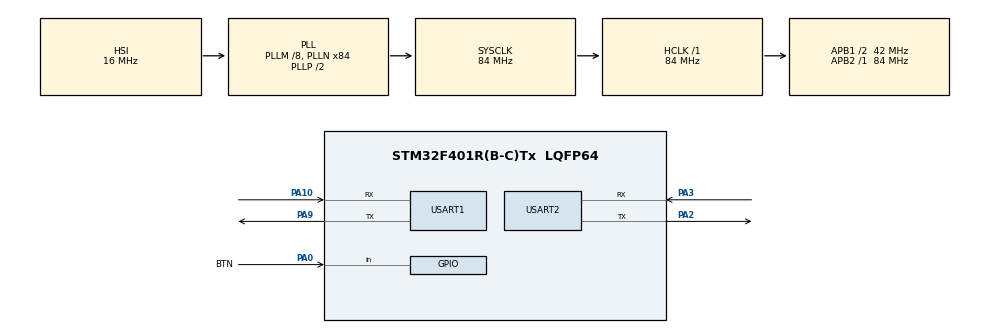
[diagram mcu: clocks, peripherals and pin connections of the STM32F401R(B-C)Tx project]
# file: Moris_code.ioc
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Mcu.Family=STM32F4
Mcu.Name=STM32F401R(B-C)Tx
Mcu.Package=LQFP64
NVIC.FPU_IRQn=true\:0\:0\:false\:false\:true\:true\:false\:true
NVIC.PriorityGroup=NVIC_PRIORITYGROUP_4
NVIC.TIM1_TRG_COM_TIM11_IRQn=true\:0\:0\:false\:false\:true\:true\:true\:true
NVIC.USART1_IRQn=true\:0\:0\:false\:false\:true\:true\:true\:true
PA0-WKUP.GPIO_Label=BTN
PA0-WKUP.GPIO_PuPd=GPIO_PULLUP
PA0-WKUP.Signal=GPIO_Input
PA10.Mode=Asynchronous
PA10.Signal=USART1_RX
PA13.Mode=Serial_Wire
PA13.Signal=SYS_JTMS-SWDIO
PA14.Mode=Serial_Wire
PA14.Signal=SYS_JTCK-SWCLK
PA2.Mode=Asynchronous
PA2.Signal=USART2_TX
PA3.Mode=Asynchronous
PA3.Signal=USART2_RX
PA9.Mode=Asynchronous
PA9.Signal=USART1_TX
ProjectManager.HeapSize=0x800
ProjectManager.StackSize=0x800
ProjectManager.TargetToolchain=STM32CubeIDE
RCC.48MHZClocksFreq_Value=24000000
RCC.AHBFreq_Value=84000000
RCC.APB1CLKDivider=RCC_HCLK_DIV2
RCC.APB1Freq_Value=42000000
RCC.APB1TimFreq_Value=84000000
RCC.APB2Freq_Value=84000000
RCC.APB2TimFreq_Value=84000000
RCC.CortexFreq_Value=84000000
RCC.HCLKFreq_Value=84000000
RCC.HSE_VALUE=25000000
RCC.HSI_VALUE=16000000
RCC.LSE_VALUE=32768
RCC.PLLM=8
RCC.PLLN=84
RCC.PLLQ=7
RCC.SYSCLKFreq_VALUE=84000000
RCC.SYSCLKSource=RCC_SYSCLKSOURCE_PLLCLK
RCC.VCOOutputFreq_Value=168000000
STMicroelectronics.X-CUBE-AI.10.2.0.ActivationBufferSizeList=11776
STMicroelectronics.X-CUBE-AI.10.2.0.ActivationBuffers=pool0
STMicroelectronics.X-CUBE-AI.10.2.0.ActivationNames=pool0
STMicroelectronics.X-CUBE-AI.10.2.0.ActivationSizes=AI_NETWORK_DATA_ACTIVATION_1_SIZE
STMicroelectronics.X-CUBE-AI.10.2.0.HeapSize=0x800
STMicroelectronics.X-CUBE-AI.10.2.0.InternalRamActivationBufferMaxSize=AI_NETWORK_DATA_ACTIVATIONS_SIZE
STMicroelectronics.X-CUBE-AI.10.2.0.LatestDirectoryUsed-5d06fa211cce28734c915280069cd147d6e41d4e71027c1cc666ec31331a1140=D\:\\EmbedML\\TinyML_projects\\Moris_code\\Model-Docs
STMicroelectronics.X-CUBE-AI.10.2.0.MaximumNumberOfInputLayer=1
STMicroelectronics.X-CUBE-AI.10.2.0.MaximumNumberOfOutputLayer=1
STMicroelectronics.X-CUBE-AI.10.2.0.MaximumSizeOfInputLayer=1
STMicroelectronics.X-CUBE-AI.10.2.0.MaximumSizeOfOutputLayer=1
STMicroelectronics.X-CUBE-AI.10.2.0.ModelActualCompression-5d06fa211cce28734c915280069cd147d6e41d4e71027c1cc666ec31331a1140=0.0
STMicroelectronics.X-CUBE-AI.10.2.0.ModelCompression-5d06fa211cce28734c915280069cd147d6e41d4e71027c1cc666ec31331a1140=None
STMicroelectronics.X-CUBE-AI.10.2.0.ModelFlashOccupation-5d06fa211cce28734c915280069cd147d6e41d4e71027c1cc666ec31331a1140=36947
STMicroelectronics.X-CUBE-AI.10.2.0.ModelHashList=5d06fa211cce28734c915280069cd147d6e41d4e71027c1cc666ec31331a1140
STMicroelectronics.X-CUBE-AI.10.2.0.ModelKind-5d06fa211cce28734c915280069cd147d6e41d4e71027c1cc666ec31331a1140=KERAS
STMicroelectronics.X-CUBE-AI.10.2.0.ModelMacc-5d06fa211cce28734c915280069cd147d6e41d4e71027c1cc666ec31331a1140=142448
STMicroelectronics.X-CUBE-AI.10.2.0.ModelName-5d06fa211cce28734c915280069cd147d6e41d4e71027c1cc666ec31331a1140=network
STMicroelectronics.X-CUBE-AI.10.2.0.ModelNameList=network
STMicroelectronics.X-CUBE-AI.10.2.0.ModelRamOccupation-5d06fa211cce28734c915280069cd147d6e41d4e71027c1cc666ec31331a1140=11776
STMicroelectronics.X-CUBE-AI.10.2.0.ModelStructureFile-5d06fa211cce28734c915280069cd147d6e41d4e71027c1cc666ec31331a1140=Model-Docs/morse_model.tflite
STMicroelectronics.X-CUBE-AI.10.2.0.ModelType-5d06fa211cce28734c915280069cd147d6e41d4e71027c1cc666ec31331a1140=STM32Cube.AI MCU runtime
STMicroelectronics.X-CUBE-AI.10.2.0.ReadyForCodeGeneration=true
STMicroelectronics.X-CUBE-AI.10.2.0.StackSize=0x800
STMicroelectronics.X-CUBE-AI.10.2.0.WorkingBufferStartAddrList=0xFFFFFFFF
STMicroelectronics.X-CUBE-AI.10.2.0.XAaCUBEAaAICcArtificialOoIntelligenceJjCore=true
STMicroelectronics.X-CUBE-AI.10.2.0.copyWeightToRam=false
STMicroelectronics.X-CUBE-AI.10.2.0.copyWeightToRam-5d06fa211cce28734c915280069cd147d6e41d4e71027c1cc666ec31331a1140=false
STMicroelectronics.X-CUBE-AI.10.2.0.customLayerConfigEnabled=false
STMicroelectronics.X-CUBE-AI.10.2.0.customLayerConfigEnabled-5d06fa211cce28734c915280069cd147d6e41d4e71027c1cc666ec31331a1140=false
STMicroelectronics.X-CUBE-AI.10.2.0.noOnnxIoTranspose=false
STMicroelectronics.X-CUBE-AI.10.2.0.noOnnxIoTranspose-5d06fa211cce28734c915280069cd147d6e41d4e71027c1cc666ec31331a1140=false
STMicroelectronics.X-CUBE-AI.10.2.0.useInputAllocation=true
STMicroelectronics.X-CUBE-AI.10.2.0.useInputAllocation-5d06fa211cce28734c915280069cd147d6e41d4e71027c1cc666ec31331a1140=true
STMicroelectronics.X-CUBE-AI.10.2.0.useOutputAllocation=true
STMicroelectronics.X-CUBE-AI.10.2.0.useOutputAllocation-5d06fa211cce28734c915280069cd147d6e41d4e71027c1cc666ec31331a1140=true
TIM11.AutoReloadPreload=TIM_AUTORELOAD_PRELOAD_ENABLE
TIM11.Channel=TIM_CHANNEL_1
TIM11.OC1Preload=ENABLE
TIM11.Period=49999
TIM11.Prescaler=83
USART1.VirtualMode=VM_ASYNC
USART2.VirtualMode=VM_ASYNC
VP_CRC_VS_CRC.Mode=CRC_Activate
VP_STMicroelectronics.X-CUBE-AI_VS_ArtificialOoIntelligenceJjXAaCUBEAaAI_10.2.0.Mode=ArtificialOoIntelligenceJjXAaCUBEAaAI
VP_TIM11_VS_ClockSourceINT.Mode=Enable_Timer
VP_TIM11_VS_no_output1.Mode=Output Compare1 No Output
board=custom

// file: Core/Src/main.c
/* USER CODE BEGIN Header */
/**
  ******************************************************************************
  * @file           : main.c
  * @brief          : Main program body
  ******************************************************************************
  * @attention
  *
  * Copyright (c) 2026 STMicroelectronics.
  * All rights reserved.
  *
  * This software is licensed under terms that can be found in the LICENSE file
  * in the root directory of this software component.
  * If no LICENSE file comes with this software, it is provided AS-IS.
  *
  ******************************************************************************
  */
/* USER CODE END Header */
#include "main.h"
#include "crc.h"
#include "tim.h"
#include "usart.h"
#include "gpio.h"

/* USER CODE BEGIN Includes */
#include "network.h"
#include "network_data.h"
#include <stdio.h>
#include <string.h>
/* USER CODE END Includes */

/* USER CODE BEGIN PM */
#define BUFFER_SIZE 100
#define True 1
#define False 0
#define BUTTON_PRESSED 127
#define BUTTON_RELEASED -128   /* matches the released level used during training */
#define BUTTON_NO_CHANGE 0
#define CONFIDENCE_THRESHOLD 100  /* min INT8 score to accept a prediction (tune to model output scale) */
/* USER CODE END PM */

/* USER CODE BEGIN PV */
/* App Logic variables */
int8_t  input_buffer[AI_NETWORK_IN_1_SIZE];               /* model input  (S8, 100 samples) */
int8_t  output_buffer[AI_NETWORK_OUT_1_SIZE];    /* model output (S8, 28 classes)  */
uint8_t buffer_idx= 0;
uint8_t tick= False;
int8_t btn_state= BUTTON_NO_CHANGE;

/* Index 0 = IDLE/unknown, 1..26 = A..Z, 27 = SPACE */
const char LOOKUP[] = "?ABCDEFGHIJKLMNOPQRSTUVWXYZ ";

/* AI variables */
ai_handle network = AI_HANDLE_NULL;
ai_buffer input;
ai_buffer output;
/* Scratch buffer for the network's intermediate activations (4-byte aligned). */
static uint8_t activations[AI_NETWORK_DATA_ACTIVATIONS_SIZE] __attribute__((aligned(4)));
/* USER CODE END PV */

void SystemClock_Config(void);
/* USER CODE BEGIN PFP */
void tick_handler(void);
void shift_window(void);
void read_btn(void);
void ai_run_inference(void);
void process_result(void);
/* USER CODE END PFP */

/* USER CODE BEGIN 0 */
void HAL_TIM_PeriodElapsedCallback(TIM_HandleTypeDef *htim)
{
  tick = True;
}

void tick_handler()
{
  read_btn();
  ai_run_inference();
}

void shift_window()
{
  if(buffer_idx < BUFFER_SIZE-1)
  {
    /* if index is within bounds, update the buffer */
    input_buffer[buffer_idx++] = btn_state;
  }
  else if(buffer_idx == BUFFER_SIZE-1)
  {
    /* buffer full: slide history one sample left, then append the newest one */
    memmove(input_buffer, input_buffer + 1, BUFFER_SIZE - 1);
    input_buffer[buffer_idx] = btn_state;
  }
  else
  {
    /* index is out of bounds, clear the buffer */
    memset(input_buffer, 0, BUFFER_SIZE);
    buffer_idx = 0;
  }
}

void read_btn()
{
  /* Read the button state */
  btn_state = HAL_GPIO_ReadPin(BTN_GPIO_Port, BTN_Pin) == GPIO_PIN_SET ? BUTTON_RELEASED : BUTTON_PRESSED;

  /* update the input buffer */
  shift_window();

  /* Reset the button state */
  btn_state = BUTTON_NO_CHANGE;
}

void ai_run_inference()
{
  /* Only run once the 5-second window is full. The buffer descriptors
     (format/shape/size) were bound once in main(); we just point them at
     our data here. */
  if(network != AI_HANDLE_NULL && buffer_idx == BUFFER_SIZE-1)
  {
    input.data  = AI_HANDLE_PTR(input_buffer);
    output.data = AI_HANDLE_PTR(output_buffer);

    /* Run inference */
    ai_i32 n_batches = ai_network_run(network, &input, &output);

    if(n_batches != 1)
    {
      /* Inference failed: report and skip this tick. */
      ai_error err = ai_network_get_error(network);
      HAL_UART_Transmit(&huart2, (uint8_t*)"AI run error.\r\n", 15, HAL_MAX_DELAY);
      // printf("AI run error: type=%d code=%d\r\n", (int)err.type, (int)err.code);
      return;
    }

    process_result();
  }
}

void process_result()
{
  /* Argmax over the 28 INT8 class scores. */
  int8_t max_val = -128;
  int    max_idx = 0;
  for(int i = 0; i < AI_NETWORK_OUT_1_SIZE; i++)
  {
    if(output_buffer[i] > max_val)
    {
      max_val = output_buffer[i];
      max_idx = i;
    }
  }

  /* Emit only confident, non-IDLE predictions. Then reset the window to the
     released level so the same character is not reported on every subsequent
     tick while it lingers inside the 5-second window. */
  if(max_val > 75 && max_idx != 0)
  {
    HAL_UART_Transmit(&huart2, (uint8_t*)"Decoded Character: ", 19, HAL_MAX_DELAY);
    HAL_UART_Transmit(&huart2, (uint8_t*)&LOOKUP[max_idx], 1, HAL_MAX_DELAY);
    HAL_UART_Transmit(&huart2, (uint8_t*)"\r\n", 2, HAL_MAX_DELAY);

    HAL_UART_Transmit(&huart2, (uint8_t*)"Input buffer: ", 14, HAL_MAX_DELAY);
    for(uint8_t i= 0; i< 100; i++)
    {
    	uint8_t c = 0;
    	if(input_buffer[i] == BUTTON_NO_CHANGE) c= 'N';
    	else if(input_buffer[i] == BUTTON_RELEASED) c= 'D';
    	else if(input_buffer[i] == BUTTON_PRESSED) c= 'U';
    	HAL_UART_Transmit(&huart2, (uint8_t*)&c, 1, HAL_MAX_DELAY);
    	HAL_UART_Transmit(&huart2, (uint8_t*)" ", 1, HAL_MAX_DELAY);
    }
    HAL_UART_Transmit(&huart2, (uint8_t*)"\r\n", 2, HAL_MAX_DELAY);

    // printf("Decoded Character: %c\r\n", LOOKUP[max_idx]);
    memset(input_buffer, BUTTON_NO_CHANGE, BUFFER_SIZE);
    buffer_idx = 0;
  }
}
/* USER CODE END 0 */

int main(void)
{

  /* MCU Configuration--------------------------------------------------------*/

  /* Reset of all peripherals, Initializes the Flash interface and the Systick. */
  HAL_Init();

  /* Configure the system clock */
  SystemClock_Config();

  /* Initialize all configured peripherals */
  MX_GPIO_Init();
  MX_CRC_Init();
  MX_USART1_UART_Init();
  MX_USART2_UART_Init();
  MX_TIM11_Init();
  /* USER CODE BEGIN 2 */
  HAL_UART_Transmit(&huart2, (uint8_t*)"Starting neural network init.\r\n", 31, HAL_MAX_DELAY);
  /* Send printf output immediately instead of buffering it. */
  setvbuf(stdout, NULL, _IONBF, 0);

  /* Create and initialize the AI network. The activation buffer is supplied by
     us; weights are resolved automatically from flash (NULL -> use built-in). */
  ai_handle act_addr[] = { activations };
  ai_error ai_err = ai_network_create_and_init(&network, act_addr, NULL);
  if(ai_err.type != AI_ERROR_NONE)
  {
    HAL_UART_Transmit(&huart2, (uint8_t*)"AI init error.\r\n", 16, HAL_MAX_DELAY);
    // printf("AI init error: type=%d code=%d\r\n", (int)ai_err.type, (int)ai_err.code);
    Error_Handler();
  }

  /* Grab the model's pre-built I/O descriptors (correct format/shape/size).
     ai_run_inference() only needs to set the .data pointers afterwards. */
  input  = ai_network_inputs_get(network, NULL)[0];
  output = ai_network_outputs_get(network, NULL)[0];

  /* Prime the window as fully released, then start the 50 ms (20 Hz) sampler. */
  memset(input_buffer, BUTTON_RELEASED, BUFFER_SIZE);
  if(HAL_TIM_Base_Start_IT(&htim11) != HAL_OK)
  {
    Error_Handler();
  }
  HAL_UART_Transmit(&huart2, (uint8_t*)"Morse decoder ready.\r\n", 22, HAL_MAX_DELAY);
  /* USER CODE END 2 */

  /* Infinite loop */
  while (1)
  {

    /* USER CODE BEGIN 3 */
    if(True == tick)
    {
      tick_handler();
      tick= False;
    }
  }
  /* USER CODE END 3 */
}

void SystemClock_Config(void)
{
  RCC_OscInitTypeDef RCC_OscInitStruct = {0};
  RCC_ClkInitTypeDef RCC_ClkInitStruct = {0};

  /** Configure the main internal regulator output voltage
  */
  __HAL_RCC_PWR_CLK_ENABLE();
  __HAL_PWR_VOLTAGESCALING_CONFIG(PWR_REGULATOR_VOLTAGE_SCALE2);

  /** Initializes the RCC Oscillators according to the specified parameters
  * in the RCC_OscInitTypeDef structure.
  */
  RCC_OscInitStruct.OscillatorType = RCC_OSCILLATORTYPE_HSI;
  RCC_OscInitStruct.HSIState = RCC_HSI_ON;
  RCC_OscInitStruct.HSICalibrationValue = RCC_HSICALIBRATION_DEFAULT;
  RCC_OscInitStruct.PLL.PLLState = RCC_PLL_ON;
  RCC_OscInitStruct.PLL.PLLSource = RCC_PLLSOURCE_HSI;
  RCC_OscInitStruct.PLL.PLLM = 8;
  RCC_OscInitStruct.PLL.PLLN = 84;
  RCC_OscInitStruct.PLL.PLLP = RCC_PLLP_DIV2;
  RCC_OscInitStruct.PLL.PLLQ = 7;
  if (HAL_RCC_OscConfig(&RCC_OscInitStruct) != HAL_OK)
  {
    Error_Handler();
  }

  /** Initializes the CPU, AHB and APB buses clocks
  */
  RCC_ClkInitStruct.ClockType = RCC_CLOCKTYPE_HCLK|RCC_CLOCKTYPE_SYSCLK
                              |RCC_CLOCKTYPE_PCLK1|RCC_CLOCKTYPE_PCLK2;
  RCC_ClkInitStruct.SYSCLKSource = RCC_SYSCLKSOURCE_PLLCLK;
  RCC_ClkInitStruct.AHBCLKDivider = RCC_SYSCLK_DIV1;
  RCC_ClkInitStruct.APB1CLKDivider = RCC_HCLK_DIV2;
  RCC_ClkInitStruct.APB2CLKDivider = RCC_HCLK_DIV1;

  if (HAL_RCC_ClockConfig(&RCC_ClkInitStruct, FLASH_LATENCY_2) != HAL_OK)
  {
    Error_Handler();
  }
}

/* USER CODE BEGIN 4 */
/* Retarget printf/putchar to USART2 (PA2 TX). _write() in syscalls.c calls
   this for every character. */
int __io_putchar(int ch)
{
  HAL_UART_Transmit(&huart2, (uint8_t *)&ch, 1, HAL_MAX_DELAY);
  return ch;
}
/* USER CODE END 4 */

void Error_Handler(void)
{
  __disable_irq();
  while (1)
  {
  }
}
